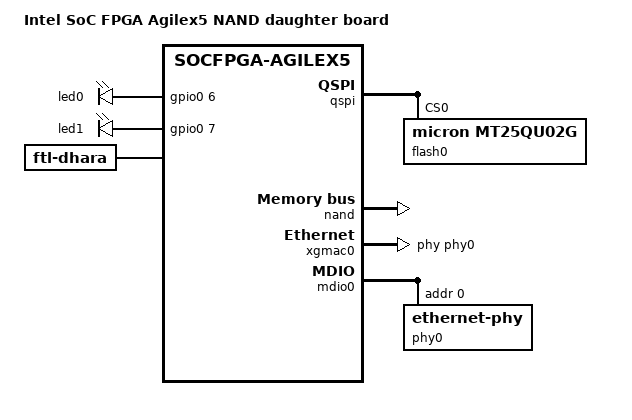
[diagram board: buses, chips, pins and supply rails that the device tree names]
/*
 * SPDX-FileCopyrightText: Copyright (c) 2026, Altera Corporation.
 *
 * SPDX-License-Identifier: Apache-2.0
 */

/dts-v1/;

#include "intel_socfpga_agilex5_socdk_common.dtsi"

/ {
	model = "Intel SoC FPGA Agilex5 NAND daughter board";
	compatible = "intel,socfpga-agilex5-socdk-nand", "intel,socfpga-agilex5";

	aliases {
		led0 = &led0;
		led1 = &led1;
		nand = &nand;
	};

	leds {
		compatible = "gpio-leds";

		led0: led0 {
			gpios = <&gpio0 6 GPIO_ACTIVE_HIGH>;
		};

		led1: led1 {
			gpios = <&gpio0 7 GPIO_ACTIVE_HIGH>;
		};
	};
};

&qspi {
	status = "okay";

	flash0: flash@0 {
		compatible = "micron,mt25qu02g";
		reg = <0>;
		size = <DT_SIZE_M(256*8)>; /* in bits */
		sector-size = <65536>;
		subsector-size = <4096>;
		page-size = <256>;
		address-byte = <2>;
		bytes-per-block = <16>;
		status = "okay";
	};
};

&nand {
	status = "okay";

	partitions {
		compatible = "fixed-partitions";
		#address-cells = <1>;
		#size-cells = <1>;

		nand_fip_partition: partition@0 {
			label = "fip";
			reg = <0x0 DT_SIZE_M(10)>;
		};

		nand_storage_partition: partition@a00000 {
			label = "storage";
			reg = <0x00a00000 0xff600000>;
		};
	};
};

/ {
	ftl {
		compatible = "zephyr,ftl-dhara";
		partition = <&nand_storage_partition>;
		disk-name = "NAND";
		/* Must be >= NAND page size (often 8 KiB or 16 KiB). */
		buffer-size = <16384>;
	};
};

&xgmac0 {
	full-duplex-mode-en;
	num-dma-ch = <1>;
	num-tx-queues = <1>;
	num-rx-queues = <1>;
	num-tc = <1>;
	dma-ch-rdrl = <128>;
	dma-ch-tdrl = <128>;
	max-speed = <1000>;
	max-frame-size = <9018>;
	jumbo-pkt-en;
	zephyr,random-mac-address;
	phy-handle = <&phy0>;
};

&mdio0 {
	csr-clock-indx = <4>;

	phy0: phy@0 {
		compatible = "ethernet-phy";
		reg = <0>;
	};
};
